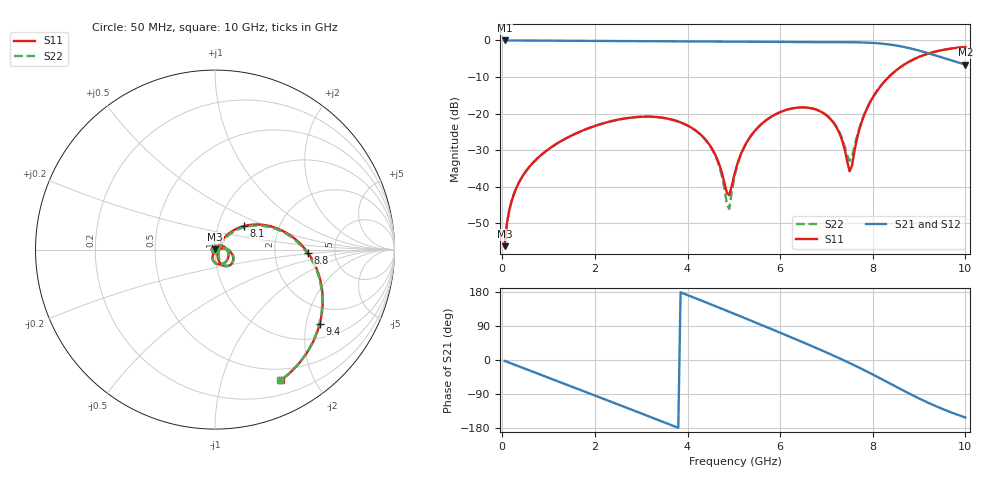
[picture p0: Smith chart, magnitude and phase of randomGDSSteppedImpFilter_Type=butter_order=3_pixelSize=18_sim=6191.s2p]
! freq	dB(S11)	phase(S11)	dB(S12)	phase(S12)
!  dB(S21)	phase(S21)	dB(S22)	phase(S22)
!S-par simulation data
#  GHz  S  DB  R 50
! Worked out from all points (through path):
!   200 points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, 50 MHz to 10 GHz, reference 50 ohm
!   highest |S21| = 0.00 dB at 50 MHz (marker M1); lowest = -6.6 dB at 10 GHz (marker M2)
!   group delay of S21, straight-line fit = 142 ps
!   lowest |S11| = -56.2 dB at 50 MHz (marker M3), VSWR 1.00, Z = 50.1 + j0.142 ohm
!   |S11| at or under -10 dB: start of sweep to 8.345 GHz
!   |S22| runs from -56.0 to -1.8 dB; largest |S21 - S12| = 0
!   S11 on the Smith chart (normalised r, x): 50 MHz: 1.00, +0.00; 8.1 GHz: 1.33, +0.36; 8.8 GHz: 3.15, -0.16; 9.4 GHz: 1.41, -2.40; 10 GHz: 0.36, -1.57
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0.05  -56.22 67.2  -0.00 -2.4  -0.00 -2.4  -55.98 66.9
0.2  -43.96 75.7  -0.02 -9.4  -0.02 -9.4  -43.95 75.6
0.45  -36.85 67.2  -0.03 -21.1  -0.03 -21.1  -36.86 67.1
1.15  -28.42 36.8  -0.07 -53.9  -0.07 -53.9  -28.43 36.6
1.75  -24.55 9.7  -0.11 -82.0  -0.11 -82.0  -24.56 9.3
2.5  -21.65 -24.9  -0.17 -117.2  -0.17 -117.2  -21.66 -25.5
3.4  -21.02 -66.6  -0.23 -159.9  -0.23 -159.9  -21.04 -67.6
4.45  -28.07 -109.8  -0.29 149.5  -0.29 149.5  -28.20 -113.2
4.7  -34.44 -109.4  -0.30 137.3  -0.30 137.3  -34.94 -117.0
4.9  -42.28 -41.0  -0.31 127.4  -0.31 127.4  -46.04 -32.7
5.05  -34.84 6.3  -0.32 119.9  -0.32 119.9  -35.25 15.9
5.3  -27.38 8.6  -0.34 107.5  -0.34 107.5  -27.42 13.1
5.65  -22.28 -3.8  -0.38 89.8  -0.38 89.8  -22.28 -1.0
6.7  -18.62 -51.6  -0.47 35.9  -0.47 35.9  -18.59 -49.0
7.2  -23.39 -70.9  -0.48 9.0  -0.48 9.0  -23.23 -66.0
7.5  -35.78 -19.6  -0.49 -8.0  -0.49 -8.0  -32.88 -16.1
7.75  -22.67 52.2  -0.54 -22.8  -0.54 -22.8  -22.41 47.1
8.1  -13.67 39.2  -0.76 -44.6  -0.76 -44.6  -13.62 37.2
8.35  -9.93 25.0  -1.09 -60.6  -1.09 -60.6  -9.91 23.7
8.8  -5.70 -2.1  -2.14 -89.4  -2.14 -89.4  -5.69 -2.9
9.4  -2.90 -35.5  -4.28 -123.8  -4.28 -123.8  -2.90 -36.0
10  -1.78 -63.1  -6.61 -151.7  -6.61 -151.7  -1.77 -63.4
